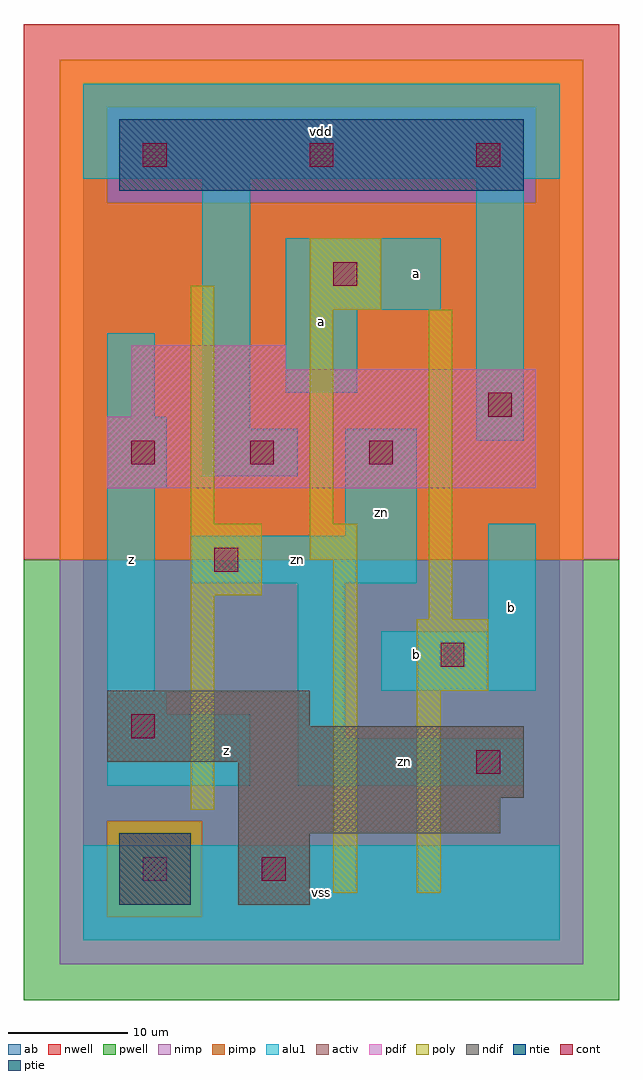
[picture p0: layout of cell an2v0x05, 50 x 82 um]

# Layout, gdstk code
import gdstk
lib = gdstk.Library(unit=1e-6, precision=1e-09)
def R(c, l, rs):  # rectangles x0, y0, x1, y1
    for r in rs: c.add(gdstk.rectangle(r[:2], r[2:], *l))
def A(c, l, x, y, w, h, nx, ny, dx, dy):  # array of equal rectangles
    R(c, l, [(x+i*dx, y+j*dy, x+i*dx+w, y+j*dy+h) for i in range(nx) for j in range(ny)])
ndif = (3, 0)
pdif = (4, 0)
ntie = (5, 0)
ptie = (6, 0)
cont = (25, 0)
pwell = (41, 0)
nwell = (42, 0)
activ = (43, 0)
pimp = (44, 0)
nimp = (45, 0)
poly = (46, 0)
alu1 = (49, 0)
ab = (63, 0)

an2v0x05 = lib.new_cell('an2v0x05')
R(an2v0x05, ndif, [(13,3,19,9), (13,9,35,12), (13,12,37,15), (2,15,37,18), (2,18,19,21)])
R(an2v0x05, pdif, [(2,38,38,44), (4,44,38,48), (4,48,17,50)])
R(an2v0x05, ntie, [(3,63,37,69)])
R(an2v0x05, ptie, [(3,3,9,9)])
A(an2v0x05, cont, 4, 40, 2, 2, 3, 1, 10, 0)
A(an2v0x05, cont, 5, 65, 2, 2, 3, 1, 14, 0)
R(an2v0x05, cont, [(5,5,7,7), (15,5,17,7), (33,14,35,16), (4,17,6,19), (30,23,32,25), (11,31,13,33), (34,44,36,46), (21,55,23,57)])
R(an2v0x05, pwell, [(-5,-5,45,32)])
R(an2v0x05, nwell, [(-5,32,45,77)])
R(an2v0x05, activ, [(3,3,9,9), (13,3,19,9), (13,9,35,12), (13,12,37,15), (2,15,37,18), (2,18,19,21), (2,38,38,44), (4,44,38,48), (4,48,17,50), (3,63,37,69)])
R(an2v0x05, pimp, [(2,2,10,10), (-2,32,42,62), (-2,62,2,70), (38,62,42,70), (-2,70,42,74)])
R(an2v0x05, nimp, [(-2,-2,42,2), (-2,2,2,10), (10,2,42,10), (-2,10,42,32), (2,62,38,70)])
R(an2v0x05, poly, [(21,4,23,32), (28,4,30,21), (9,11,11,29), (28,21,34,27), (29,27,31,53), (9,29,15,35), (19,32,23,35), (9,35,11,55), (19,35,21,53), (19,53,25,59)])
R(an2v0x05, alu1, [(0,0,40,8), (2,13,14,19), (18,13,37,17), (18,17,22,30), (2,19,7,21), (2,21,6,38), (25,21,38,26), (34,26,38,35), (9,30,28,34), (22,34,28,43), (2,38,7,44), (10,39,18,43), (33,42,37,64), (10,43,14,64), (2,44,6,51), (17,46,23,53), (17,53,30,59), (0,64,40,72)])
R(an2v0x05, ab, [(0,0,40,72)])
an2v0x05.add(gdstk.Label('zn', (27,15), layer=49, texttype=0))
an2v0x05.add(gdstk.Label('zn', (25,36), layer=49, texttype=0))
an2v0x05.add(gdstk.Label('zn', (18,32), layer=49, texttype=0))
an2v0x05.add(gdstk.Label('z', (4,32), layer=49, texttype=0))
an2v0x05.add(gdstk.Label('z', (12,16), layer=49, texttype=0))
an2v0x05.add(gdstk.Label('vss', (20,4), layer=49, texttype=0))
an2v0x05.add(gdstk.Label('b', (28,24), layer=49, texttype=0))
an2v0x05.add(gdstk.Label('a', (20,52), layer=49, texttype=0))
an2v0x05.add(gdstk.Label('a', (28,56), layer=49, texttype=0))
an2v0x05.add(gdstk.Label('vdd', (20,68), layer=49, texttype=0))
an2v0x05.add(gdstk.Label('b', (36,28), layer=49, texttype=0))

lib.write_gds('an2v0x05.gds')
